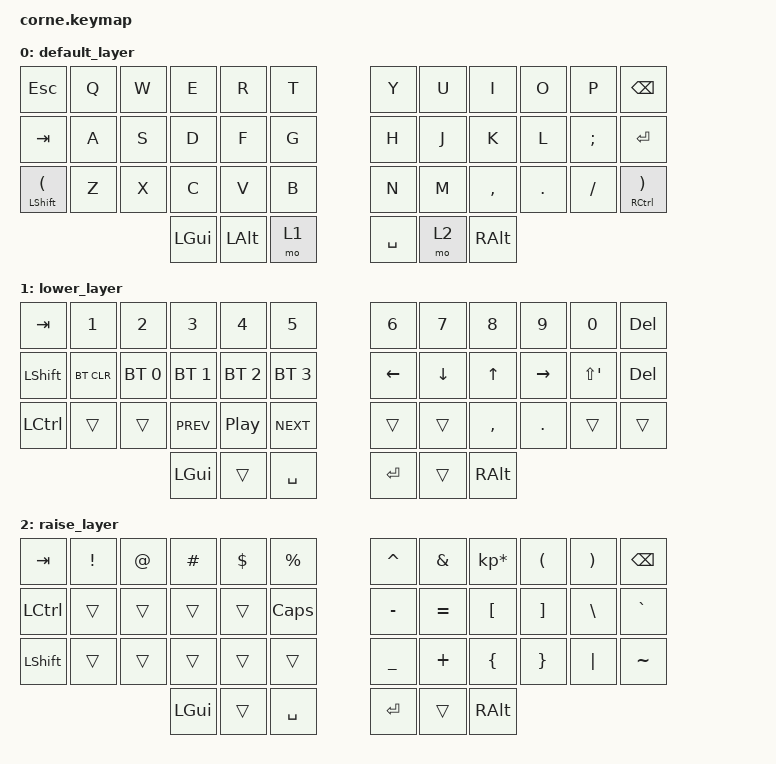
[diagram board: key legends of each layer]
/*
 * Copyright (c) 2020 The ZMK Contributors
 *
 * SPDX-License-Identifier: MIT
 */

#include <behaviors.dtsi>
#include <dt-bindings/zmk/bt.h>
#include <dt-bindings/zmk/keys.h>

/ {
    keymap {
        compatible = "zmk,keymap";

        default_layer {
            // -----------------------------------------------------------------------------------------
            // | LALT |  Q  |  W  |  E  |  R  |  T  |   |  Y  |  U   |  I  |  O  |  P  | BKSP |
            // | SHFT |  A  |  S  |  D  |  F  |  G  |   |  H  |  J   |  K  |  L  |  ;  |  '   |
            // | LCTRL|  Z  |  X  |  C  |  V  |  B  |   |  N  |  M   |  ,  |  .  |  /  | ESC  |
            //                    |GUITB| LWR | RET |   | SPC | RSE  | ALT |

            bindings = <
&kp ESCAPE           &kp Q  &kp W  &kp E         &kp R         &kp T    &kp Y      &kp U  &kp I      &kp O    &kp P     &kp BSPC
&kp TAB              &kp A  &kp S  &kp D         &kp F         &kp G    &kp H      &kp J  &kp K      &kp L    &kp SEMI  &kp RETURN
&mt LEFT_SHIFT LPAR  &kp Z  &kp X  &kp C         &kp V         &kp B    &kp N      &kp M  &kp COMMA  &kp DOT  &kp FSLH  &mt RCTRL RPAR
                                   &kp LEFT_GUI  &kp LEFT_ALT  &mo 1    &kp SPACE  &mo 2  &kp RALT
            >;
        };

        lower_layer {
            // -----------------------------------------------------------------------------------------
            // |  TAB |  1  |  2  |  3  |  4  |  5  |   |  6  |  7  |  8  |  9  |  0  | BKSP |
            // | SHFT |BTCLR| BT1 | BT2 | BT3 | BT4 |   | LFT | DWN |  UP | RGT |     | DEL  |
            // | LCTRL|     |     | prv | ply | nxt |   |     |     |  ,  |  .  |     |      |
            //                    | GUI |     | SPC |   | ENT |     | ALT |

            bindings = <
&kp TAB    &kp N1      &kp N2        &kp N3        &kp N4        &kp N5          &kp N6    &kp N7    &kp N8     &kp N9     &kp N0       &kp DELETE
&kp LSHFT  &bt BT_CLR  &bt BT_SEL 0  &bt BT_SEL 1  &bt BT_SEL 2  &bt BT_SEL 3    &kp LEFT  &kp DOWN  &kp UP     &kp RIGHT  &kp LS(SQT)  &kp DEL
&kp LCTRL  &trans      &trans        &kp C_PREV    &kp C_PP      &kp C_NEXT      &trans    &trans    &kp COMMA  &kp DOT    &trans       &trans
                                     &kp LGUI      &trans        &kp SPACE       &kp RET   &trans    &kp RALT
            >;
        };

        raise_layer {
            // -----------------------------------------------------------------------------------------
            // |  TAB |  !  |  @  |  #  |  $  |  %  |   |  ^  |  &  |  *  |  (  |  )  | BKSP |
            // | CTRL |     |     |     |     | CAPS|   |  -  |  =  |  [  |  ]  |  \  |  `   |
            // | SHFT |     |     |     |     |     |   |  _  |  +  |  {  |  }  | "|" |  ~   |
            //                    | GUI |     | SPC |   | ENT |     | ALT |

            bindings = <
&kp TAB    &kp EXCL  &kp AT  &kp HASH  &kp DLLR  &kp PRCNT    &kp CARET  &kp AMPS   &kp KP_MULTIPLY  &kp LPAR  &kp RPAR  &kp BSPC
&kp LCTRL  &trans    &trans  &trans    &trans    &kp CAPS     &kp MINUS  &kp EQUAL  &kp LBKT         &kp RBKT  &kp BSLH  &kp GRAVE
&kp LSHFT  &trans    &trans  &trans    &trans    &trans       &kp UNDER  &kp PLUS   &kp LBRC         &kp RBRC  &kp PIPE  &kp TILDE
                             &kp LGUI  &trans    &kp SPACE    &kp RET    &trans     &kp RALT
            >;
        };
    };
};
